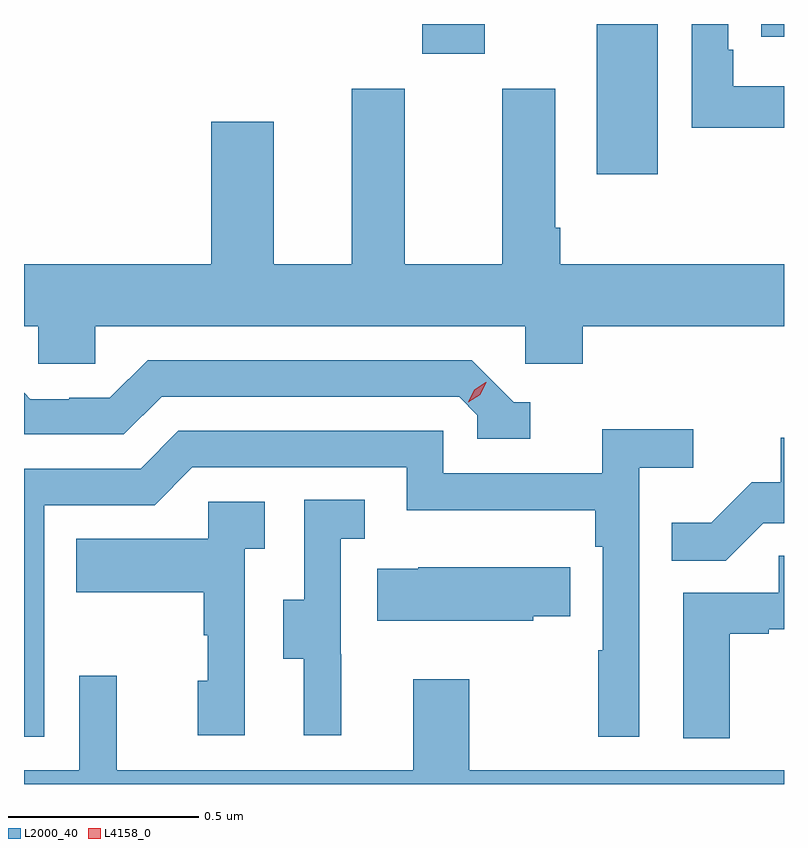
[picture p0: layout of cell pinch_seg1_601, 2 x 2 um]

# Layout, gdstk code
import gdstk
lib = gdstk.Library(unit=1e-6, precision=1e-09)
def R(c, l, rs):  # rectangles x0, y0, x1, y1
    for r in rs: c.add(gdstk.rectangle(r[:2], r[2:], *l))
def P(c, l, *ps):  # polygons
    for p in ps: c.add(gdstk.Polygon(p, *l))
L2000_40 = (2000, 40)
L4158_0 = (4158, 0)

pinch_seg1_601 = lib.new_cell('pinch_seg1_601')
R(pinch_seg1_601, L2000_40, [(1029.158,512.172,1029.319,512.568), (1028.699,512.49,1028.863,512.568), (1029.591,512.535,1029.651,512.568)])
P(pinch_seg1_601, L2000_40, [(1029.651,512.404),(1029.518,512.404),(1029.518,512.5),(1029.504,512.5),(1029.504,512.568),(1029.408,512.568),(1029.408,512.295),(1029.651,512.295)],
  [(1027.839,511.772),(1028.97,511.772),(1028.97,511.674),(1029.122,511.674),(1029.122,511.772),(1029.651,511.772),(1029.651,511.936),(1029.062,511.936),(1029.062,512.032),(1029.049,512.032),(1029.049,512.398),(1028.909,512.398),(1028.909,511.936),(1028.653,511.936),(1028.653,512.398),(1028.513,512.398),(1028.513,511.936),(1028.308,511.936),(1028.308,512.311),(1028.144,512.311),(1028.144,511.936),(1027.651,511.936),(1027.651,511.772),(1027.689,511.772),(1027.689,511.674),(1027.839,511.674)],
  [(1028.983,511.572),(1028.94,511.572),(1028.829,511.683),(1027.976,511.683),(1027.877,511.584),(1027.77,511.584),(1027.77,511.581),(1027.667,511.581),(1027.651,511.597),(1027.651,511.488),(1027.914,511.488),(1028.013,511.587),(1028.796,511.587),(1028.844,511.539),(1028.844,511.476),(1028.983,511.476)],
  [(1027.704,511.302),(1027.995,511.302),(1028.094,511.401),(1028.658,511.401),(1028.658,511.289),(1029.154,511.289),(1029.154,511.193),(1029.174,511.193),(1029.174,510.92),(1029.162,510.92),(1029.162,510.693),(1029.27,510.693),(1029.27,511.4),(1029.412,511.4),(1029.412,511.502),(1029.173,511.502),(1029.173,511.386),(1028.754,511.386),(1028.754,511.497),(1028.057,511.497),(1027.958,511.398),(1027.651,511.398),(1027.651,510.693),(1027.704,510.693)],
  [(1029.596,511.254),(1029.651,511.254),(1029.651,511.479),(1029.643,511.479),(1029.643,511.362),(1029.566,511.362),(1029.459,511.255),(1029.355,511.255),(1029.355,511.156),(1029.498,511.156)],
  [(1028.486,510.909),(1028.484,510.909),(1028.484,511.213),(1028.548,511.213),(1028.548,511.316),(1028.388,511.316),(1028.388,511.053),(1028.333,511.053),(1028.333,510.898),(1028.387,510.898),(1028.387,510.696),(1028.486,510.696)],
  [(1028.232,511.187),(1028.284,511.187),(1028.284,511.311),(1028.136,511.311),(1028.136,511.213),(1027.789,511.213),(1027.789,511.073),(1028.124,511.073),(1028.124,510.959),(1028.134,510.959),(1028.134,510.84),(1028.108,510.84),(1028.108,510.696),(1028.232,510.696)],
  [(1029.508,510.963),(1029.611,510.963),(1029.611,510.975),(1029.651,510.975),(1029.651,511.169),(1029.637,511.169),(1029.637,511.071),(1029.386,511.071),(1029.386,510.689),(1029.508,510.689)],
  [(1028.991,511.009),(1029.089,511.009),(1029.089,511.138),(1028.689,511.138),(1028.689,511.135),(1028.581,511.135),(1028.581,510.998),(1028.991,510.998)],
  [(1029.651,510.604),(1028.823,510.604),(1028.823,510.844),(1028.675,510.844),(1028.675,510.604),(1027.895,510.604),(1027.895,510.853),(1027.797,510.853),(1027.797,510.604),(1027.651,510.604),(1027.651,510.568),(1029.651,510.568)])
P(pinch_seg1_601, L4158_0, [(1028.82,511.573),(1028.82,511.574),(1028.836,511.606),(1028.866,511.625),(1028.867,511.625),(1028.867,511.625),(1028.851,511.593),(1028.82,511.573)])

lib.write_gds('pinch_seg1_601.gds')
